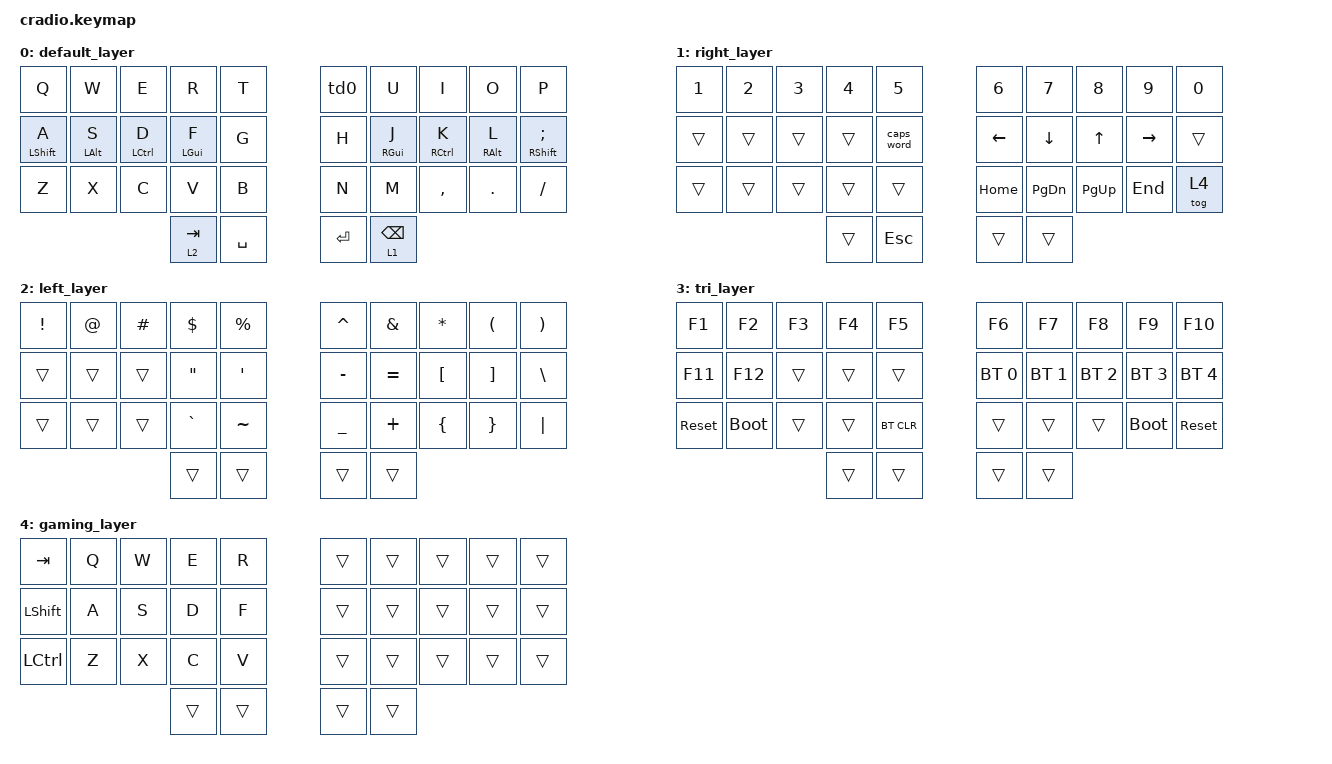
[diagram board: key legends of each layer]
// Copyright (c) 2022 The ZMK Contributors
// SPDX-License-Identifier: MIT

#include <behaviors.dtsi>
#include <dt-bindings/zmk/keys.h>
#include <dt-bindings/zmk/bt.h>

// Home row mods macro
// #define HRML(k1,k2,k3,k4) &ht LSHFT k1  &ht LALT k2  &ht LCTRL k3  &ht LGUI k4
// #define HRMR(k1,k2,k3,k4) &ht RGUI k1  &ht RCTRL k2  &ht RALT k3  &ht RSHFT k4

&lt {
    flavor = "hold-preferred";
    quick-tap-ms = <0>;
    tapping-term-ms = <240>;
};

/ {
    behaviors {
        ht: hold_tap {
            compatible = "zmk,behavior-hold-tap";
            #binding-cells = <2>;
            flavor = "tap-preferred";
            tapping-term-ms = <150>;
            quick-tap-ms = <0>;
            bindings = <&kp>, <&kp>;
        };
        hta: hold_tap_alt {
            compatible = "zmk,behavior-hold-tap";
            #binding-cells = <2>;
            flavor = "tap-preferred";
            tapping-term-ms = <240>;
            quick-tap-ms = <0>;
            bindings = <&kp>, <&kp>;
        };
        hts: hold_tap_shift {
            compatible = "zmk,behavior-hold-tap";
            #binding-cells = <2>;
            flavor = "hold-preferred";
            tapping-term-ms = <400>;
            bindings = <&kp>, <&kp>;

            // quick-tap-ms = <0>;
            require-prior-idle-ms = <100>;
        };
         td0: tap_dance_0 {
            compatible = "zmk,behavior-tap-dance";
            #binding-cells = <0>;
            tapping-term-ms = <160>;
            bindings = <&kp Y>, <&kp ESC>;
        };
    };


    conditional_layers {
        compatible = "zmk,conditional-layers";
        tri_layer {
            if-layers = <1 2>;
            then-layer = <3>;
        };
    };

    keymap {
        compatible = "zmk,keymap";
        default_layer {
            bindings = <
        //╭──────────┬──────────┬──────────┬──────────┬──────────╮   ╭──────────┬──────────┬──────────┬──────────┬──────────╮
        //│  Q       │  W       │  E       │  R       │  T       │   │  Y, ESC  │  U       │  I       │  O       │  P       │
            &kp Q      &kp W      &kp E      &kp R      &kp T          &td0      &kp U      &kp I      &kp O      &kp P
        //├──────────┼──────────┼──────────┼──────────┼──────────┤   ├──────────┼──────────┼──────────┼──────────┼──────────┤
        //│  A       │  S       │  D       │  F       │  G       │   │  H       │  J       │  K       │  L       │ ; :      │
           &hts LSHFT A &hta LALT S &ht LCTRL D &ht LGUI F  &kp G       &kp H     &ht RGUI J &ht RCTRL K  &hta RALT L  &hts RSHFT SEMI
        //├──────────┼──────────┼──────────┼──────────┼──────────┤   ├──────────┼──────────┼──────────┼──────────┼──────────┤
        //│  Z       │  X       │  C       │  V       │  B       │   │  N       │  M       │ , <      │ . >      │ / ?      │
            &kp Z      &kp X      &kp C      &kp V      &kp B          &kp N      &kp M      &kp COMMA  &kp DOT    &kp FSLH
        //╰──────────┴──────────┴──────────┼──────────┼──────────┤   ├──────────┼──────────┼──────────┴──────────┴──────────╯
                                            &lt 2 TAB   &kp SPACE     &kp ENTER  &lt 1 BSPC
        //                                 ╰──────────┴──────────╯   ╰──────────┴──────────╯
            >;
        };

        right_layer {
            bindings = <
        //╭──────────┬──────────┬──────────┬──────────┬──────────╮   ╭──────────┬──────────┬──────────┬──────────┬──────────╮
        //│ 1        │  2       │  3       │  4       │   5      │   │ 6        │ 7        │ 8        │ 9        │  0       │
            &kp N1     &kp N2     &kp N3     &kp N4     &kp N5         &kp N6     &kp N7     &kp N8     &kp N9      &kp N0
        //├──────────┼──────────┼──────────┼──────────┼──────────┤   ├──────────┼──────────┼──────────┼──────────┼──────────┤
        //│          │          │          │          │          │   │ LEFT     │ DOWN     │ UP       │ RIGHT    │          │
            &trans     &trans     &trans     &trans     &caps_word     &kp LEFT   &kp DOWN   &kp UP     &kp RIGHT   &trans
        //├──────────┼──────────┼──────────┼──────────┼──────────┤   ├──────────┼──────────┼──────────┼──────────┼──────────┤
        //│          │          │          │          │          │   │          │          │          │          │          │
            &trans     &trans     &trans     &trans     &trans         &kp HOME   &kp PG_DN  &kp PG_UP  &kp END   &tog 4
        //╰──────────┴──────────┴──────────┼──────────┼──────────┤   ├──────────┼──────────┼──────────┴──────────┴──────────╯
                                             &trans     &kp ESC        &trans     &trans
        //                                 ╰──────────┴──────────╯   ╰──────────┴──────────╯
            >;
        };

        left_layer {
            bindings = <
        //╭──────────┬──────────┬──────────┬──────────┬──────────╮   ╭──────────┬──────────┬──────────┬──────────┬──────────╮
        //│   !      │  @       │  #       │  $       │  %       │   │  ^       │  &       │  *       │  (       │  )       │
           &kp EXCL   &kp AT     &kp HASH   &kp DLLR   &kp PRCNT      &kp CARET  &kp AMPS   &kp STAR   &kp LPAR   &kp RPAR
        //├──────────┼──────────┼──────────┼──────────┼──────────┤   ├──────────┼──────────┼──────────┼──────────┼──────────┤
        //│          │          │          │  "       │  '       │   │  -       │  =       │  [       │  ]       │  \       │
            &trans    &trans     &trans     &kp DQT    &kp SQT        &kp MINUS  &kp EQUAL  &kp LBKT  &kp RBKT   &kp BSLH
        //├──────────┼──────────┼──────────┼──────────┼──────────┤   ├──────────┼──────────┼──────────┼──────────┼──────────┤
        //│          │          │          │    `     │  ~       │   │  _       │  +       │  {       │  }       │  |       │
            &trans     &trans     &trans    &kp GRAVE  &kp TILDE      &kp UNDER  &kp PLUS   &kp LBRC   &kp RBRC   &kp PIPE
        //╰──────────┴──────────┴──────────┼──────────┼──────────┤   ├──────────┼──────────┼──────────┴──────────┴──────────╯
                                             &trans     &trans         &trans     &trans
        //                                 ╰──────────┴──────────╯   ╰──────────┴──────────╯
            >;
        };

        tri_layer {
            bindings = <
        //╭──────────┬──────────┬──────────┬──────────┬──────────╮   ╭──────────┬──────────┬──────────┬──────────┬──────────╮
        //│          │          │          │          │          │   │          │          │          │          │          │
           &kp F1     &kp F2     &kp F3     &kp F4     &kp F5         &kp F6     &kp F7     &kp F8     &kp F9     &kp F10
        //├──────────┼──────────┼──────────┼──────────┼──────────┤   ├──────────┼──────────┼──────────┼──────────┼──────────┤
        //│          │          │          │          │          │   │          │          │          │          │          │
          &kp F11     &kp F12    &trans     &trans     &trans        &bt BT_SEL 0 &bt BT_SEL 1 &bt BT_SEL 2 &bt BT_SEL 3 &bt BT_SEL 4
        //├──────────┼──────────┼──────────┼──────────┼──────────┤   ├──────────┼──────────┼──────────┼──────────┼──────────┤
        //│  RESET   │          │          │ CLEAR BT │          │   │          │          │          │          │          │
            &sys_reset &bootloader &trans   &trans     &bt BT_CLR     &trans     &trans     &trans     &bootloader &sys_reset
        //╰──────────┴──────────┴──────────┼──────────┼──────────┤   ├──────────┼──────────┼──────────┴──────────┴──────────╯
                                             &trans     &trans         &trans     &trans
        //                                 ╰──────────┴──────────╯   ╰──────────┴──────────╯
            >;
        };

        gaming_layer {
            bindings = <
        //╭──────────┬──────────┬──────────┬──────────┬──────────╮   ╭──────────┬──────────┬──────────┬──────────┬──────────╮
        //│          │          │          │          │          │   │          │          │          │          │          │
           &kp TAB    &kp Q      &kp W      &kp E      &kp R          &trans     &trans     &trans     &trans     &trans
        //├──────────┼──────────┼──────────┼──────────┼──────────┤   ├──────────┼──────────┼──────────┼──────────┼──────────┤
        //│          │          │          │          │          │   │          │          │          │          │          │
           &kp LSHIFT &kp A      &kp S      &kp D      &kp F          &trans     &trans     &trans     &trans     &trans
        //├──────────┼──────────┼──────────┼──────────┼──────────┤   ├──────────┼──────────┼──────────┼──────────┼──────────┤
        //│          │          │          │          │          │   │          │          │          │          │          │
           &kp LCTRL  &kp Z      &kp X      &kp C      &kp V          &trans     &trans     &trans     &trans     &trans
        //╰──────────┴──────────┴──────────┼──────────┼──────────┤   ├──────────┼──────────┼──────────┴──────────┴──────────╯
                                            &trans     &trans         &trans     &trans
        //                                 ╰──────────┴──────────╯   ╰──────────┴──────────╯
            >;
        };
    };
};
